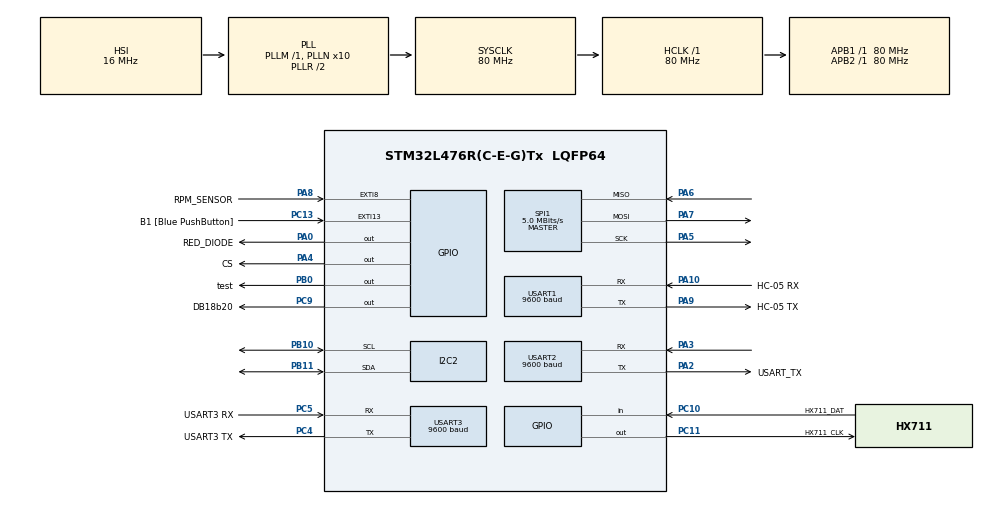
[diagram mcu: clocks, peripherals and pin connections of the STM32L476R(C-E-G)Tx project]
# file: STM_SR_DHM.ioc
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FATFS._MAX_SS=4096
FATFS._USE_LFN=1
I2C2.Timing=0x10909CEC
Mcu.Family=STM32L4
Mcu.Name=STM32L476R(C-E-G)Tx
Mcu.Package=LQFP64
NVIC.EXTI15_10_IRQn=true\:0\:0\:false\:false\:true\:true\:true
NVIC.EXTI9_5_IRQn=true\:0\:0\:false\:false\:true\:true\:true
NVIC.PriorityGroup=NVIC_PRIORITYGROUP_4
NVIC.USART1_IRQn=true\:0\:0\:false\:false\:true\:true\:true
NVIC.USART2_IRQn=true\:0\:0\:false\:false\:true\:true\:true
PA0.GPIO_Label=RED_DIODE
PA0.GPIO_ModeDefaultOutputPP=GPIO_MODE_OUTPUT_PP
PA0.GPIO_PuPd=GPIO_PULLDOWN
PA0.Signal=GPIO_Output
PA10.GPIO_Label=HC-05 RX
PA10.Mode=Asynchronous
PA10.Signal=USART1_RX
PA13\ (JTMS-SWDIO).GPIO_Label=TMS
PA13\ (JTMS-SWDIO).Mode=Trace_Asynchronous_SW
PA13\ (JTMS-SWDIO).Signal=SYS_JTMS-SWDIO
PA14\ (JTCK-SWCLK).GPIO_Label=TCK
PA14\ (JTCK-SWCLK).Mode=Trace_Asynchronous_SW
PA14\ (JTCK-SWCLK).Signal=SYS_JTCK-SWCLK
PA2.GPIO_Label=USART_TX
PA2.GPIO_Mode=GPIO_MODE_AF_PP
PA2.GPIO_PuPd=GPIO_NOPULL
PA2.GPIO_Speed=GPIO_SPEED_FREQ_VERY_HIGH
PA2.Mode=Asynchronous
PA2.Signal=USART2_TX
PA3.Mode=Asynchronous
PA3.Signal=USART2_RX
PA4.GPIO_Label=CS
PA4.Signal=GPIO_Output
PA5.Mode=Full_Duplex_Master
PA5.Signal=SPI1_SCK
PA6.Mode=Full_Duplex_Master
PA6.Signal=SPI1_MISO
PA7.Mode=Full_Duplex_Master
PA7.Signal=SPI1_MOSI
PA8.GPIO_Label=RPM_SENSOR
PA8.GPIO_ModeDefaultEXTI=GPIO_MODE_IT_FALLING
PA8.Signal=GPXTI8
PA9.GPIO_Label=HC-05 TX
PA9.Mode=Asynchronous
PA9.Signal=USART1_TX
PB0.GPIO_Label=test
PB0.Signal=GPIO_Output
PB10.Mode=I2C
PB10.Signal=I2C2_SCL
PB11.Mode=I2C
PB11.Signal=I2C2_SDA
PB3\ (JTDO-TRACESWO).GPIO_Label=SWO
PB3\ (JTDO-TRACESWO).Mode=Trace_Asynchronous_SW
PB3\ (JTDO-TRACESWO).Signal=SYS_JTDO-SWO
PC10.GPIO_Label=HX711_DAT
PC10.Signal=GPIO_Input
PC11.GPIO_Label=HX711_CLK
PC11.Signal=GPIO_Output
PC13.GPIO_Label=B1 [Blue PushButton]
PC13.GPIO_ModeDefaultEXTI=GPIO_MODE_IT_FALLING
PC13.GPIO_PuPd=GPIO_NOPULL
PC13.Signal=GPXTI13
PC14-OSC32_IN\ (PC14).Mode=LSE-External-Oscillator
PC14-OSC32_IN\ (PC14).Signal=RCC_OSC32_IN
PC15-OSC32_OUT\ (PC15).Mode=LSE-External-Oscillator
PC15-OSC32_OUT\ (PC15).Signal=RCC_OSC32_OUT
PC4.GPIO_Label=USART3 TX
PC4.Mode=Asynchronous
PC4.Signal=USART3_TX
PC5.GPIO_Label=USART3 RX
PC5.Mode=Asynchronous
PC5.Signal=USART3_RX
PC9.GPIO_Label=DB18b20
PC9.Signal=GPIO_Output
PH0-OSC_IN\ (PH0).Signal=RCC_OSC_IN
PH1-OSC_OUT\ (PH1).Signal=RCC_OSC_OUT
ProjectManager.HeapSize=0x200
ProjectManager.StackSize=0x400
ProjectManager.TargetToolchain=STM32CubeIDE
RCC.ADCFreq_Value=64000000
RCC.AHBFreq_Value=80000000
RCC.APB1Freq_Value=80000000
RCC.APB1TimFreq_Value=80000000
RCC.APB2Freq_Value=80000000
RCC.APB2TimFreq_Value=80000000
RCC.CortexFreq_Value=80000000
RCC.HCLKFreq_Value=80000000
RCC.HSE_VALUE=8000000
RCC.HSI_VALUE=16000000
RCC.MSI_VALUE=4000000
RCC.PLLN=10
RCC.PLLSourceVirtual=RCC_PLLSOURCE_HSI
RCC.PREFETCH_ENABLE=1
RCC.SYSCLKFreq_VALUE=80000000
RCC.SYSCLKSource=RCC_SYSCLKSOURCE_PLLCLK
RCC.USBFreq_Value=64000000
RCC.VCOOutputFreq_Value=160000000
RTC.Date=4
RTC.Format=RTC_FORMAT_BIN
RTC.Hours=19
RTC.Minutes=13
RTC.Month=RTC_MONTH_JUNE
RTC.Seconds=13
RTC.WeekDay=RTC_WEEKDAY_SUNDAY
RTC.Year=23
SPI1.BaudRatePrescaler=SPI_BAUDRATEPRESCALER_16
SPI1.CalculateBaudRate=5.0 MBits/s
SPI1.Direction=SPI_DIRECTION_2LINES
SPI1.Mode=SPI_MODE_MASTER
SPI1.VirtualType=VM_MASTER
TIM1.Period=65000
TIM1.Prescaler=79
TIM16.Period=65535
TIM16.Prescaler=7999
USART1.BaudRate=9600
USART1.VirtualMode-Asynchronous=VM_ASYNC
USART2.BaudRate=9600
USART2.VirtualMode-Asynchronous=VM_ASYNC
USART3.BaudRate=9600
USART3.VirtualMode-Asynchronous=VM_ASYNC
VP_FATFS_VS_Generic.Mode=User_defined
VP_RTC_VS_RTC_Activate.Mode=RTC_Enabled
VP_RTC_VS_RTC_Calendar.Mode=RTC_Calendar
VP_TIM16_VS_ClockSourceINT.Mode=Enable_Timer
VP_TIM1_VS_ClockSourceINT.Mode=Internal
VP_TIM6_VS_ClockSourceINT.Mode=Enable_Timer
board=NUCLEO-L476RG

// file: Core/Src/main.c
/* USER CODE BEGIN Header */
/**
  ******************************************************************************
  * @file           : main.c
  * @brief          : Main program body
  ******************************************************************************
  * @attention
  *
  * <h2><center>&copy; Copyright (c) 2023 STMicroelectronics.
  * All rights reserved.</center></h2>
  *
  * This software component is licensed by ST under BSD 3-Clause license,
  * the "License"; You may not use this file except in compliance with the
  * License. You may obtain a copy of the License at:
  *                        opensource.org/licenses/BSD-3-Clause
  *
  ******************************************************************************
  */
/* USER CODE END Header */
#include "main.h"
#include "fatfs.h"
#include "i2c.h"
#include "rtc.h"
#include "spi.h"
#include "tim.h"
#include "usart.h"
#include "gpio.h"

/* USER CODE BEGIN Includes */
#include "stdio.h"
#include "hx711.h"
#include "ds18b20.h"
#include "i2c-lcd.h"
#include "fatfs_sd.h"
#include "string.h"
/* USER CODE END Includes */

/* USER CODE BEGIN PD */
#define BUFFER_LEN  1
/* USER CODE END PD */

/* USER CODE BEGIN PV */
volatile uint32_t lastCapture = 0;
volatile uint32_t capturedBuffer[2] = {0};
volatile uint8_t bufferIndex = 0;
volatile uint32_t compensation = 0;
UART_HandleTypeDef huart1;
UART_HandleTypeDef huart3;
UART_HandleTypeDef huart2;
uint8_t RX_BUFFER[BUFFER_LEN] = {0};
enum LCD_state {RPM_TEM, WGHT_RPM, TEM_WGHT};
enum LCD_state current_lcd_state = RPM_TEM;
//tests
FATFS fs;  // file system
FIL fil; // File
FILINFO fno;
FRESULT fresult;  // result
UINT br, bw;  // File read/write count

/**** capacity related *****/
FATFS *pfs;
DWORD fre_clust;
uint32_t total, free_space;

#define BUFFER_SIZE 128
char buffer[BUFFER_SIZE];  // to store strings..

/* USER CODE END PV */

void SystemClock_Config(void);
/* USER CODE BEGIN PFP */
uint32_t measure_RPM(); // if data from sensor is available return RPM value
/* USER CODE END PFP */

/* USER CODE BEGIN 0 */
int bufsize (char *buf)
{
	int i=0;
	while (*buf++ != '\0') i++;
	return i;
}

void clear_buffer (void)
{
	for (int i=0; i<BUFFER_SIZE; i++) buffer[i] = '\0';
}

int _write(int file, char *ptr, int len)
{
	for(int i = 0; i < len; i++)
	{
		ITM_SendChar(*ptr++);
	}
	return len;
}

void HAL_GPIO_EXTI_Callback(uint16_t GPIO_Pin)
{
  if (GPIO_Pin == RPM_SENSOR_Pin)
  {
	  uint32_t now = TIM16->CNT; // Get current timer count + compensation
	  uint32_t tmp_compensation = compensation;
	  compensation = 0; // zero compensation value
	  uint32_t delta = now + tmp_compensation - lastCapture; // Calculate time difference
	  lastCapture = now;
	  capturedBuffer[bufferIndex] = delta; // Store time difference in buffer
	  bufferIndex = (bufferIndex + 1) % 2; // Wrap buffer index
  }
  if(GPIO_Pin == B1_Pin){
	  current_lcd_state++;
	  if(current_lcd_state > TEM_WGHT)
		  current_lcd_state = RPM_TEM;
  }
}

void HAL_TIM_PeriodElapsedCallback(TIM_HandleTypeDef *htim)
{
	if (htim == &htim16)
	{
		compensation += 0xFFFF; // compensate for timer overflow
	}
}
void HAL_UART_RxCpltCallback(UART_HandleTypeDef *huart)
{
    if(huart->Instance == huart1.Instance)
    {
    HAL_UART_Receive_IT(&huart1, RX_BUFFER, BUFFER_LEN);
    }
}

uint8_t calculateCRC8(float value1, float value2, int value3, int value4) {
  uint8_t crc = 0;

  // Obliczenie sumy kontrolnej dla value1
  uint32_t valueAsUint1;
  memcpy(&valueAsUint1, &value1, sizeof(value1));
  uint8_t* bytes1 = (uint8_t*)&valueAsUint1;
  for (uint8_t i = 0; i < sizeof(float); i++) {
    crc ^= bytes1[i];
    for (uint8_t j = 0; j < 8; j++) {
        if (crc & 0x80) {
            crc = (crc << 1) ^ 0x07;
        } else {
            crc <<= 1;
        }
    }
  }

  // Obliczenie sumy kontrolnej dla value2
  uint32_t valueAsUint2;
  memcpy(&valueAsUint2, &value2, sizeof(value2));
  uint8_t* bytes2 = (uint8_t*)&valueAsUint2;
  for (uint8_t i = 0; i < sizeof(float); i++) {
    crc ^= bytes2[i];
    for (uint8_t j = 0; j < 8; j++) {
        if (crc & 0x80) {
            crc = (crc << 1) ^ 0x07;
        } else {
            crc <<= 1;
        }
    }
  }

  // Obliczenie sumy kontrolnej dla value3
  uint8_t value3AsUint8 = (uint8_t)value3;
  crc ^= value3AsUint8;
  for (uint8_t i = 0; i < 8; i++) {
    if (crc & 0x80) {
        crc = (crc << 1) ^ 0x07;
    } else {
        crc <<= 1;
    }
  }

  // Obliczenie sumy kontrolnej dla value4
  uint8_t value4AsUint8 = (uint8_t)value4;
  crc ^= value4AsUint8;
  for (uint8_t i = 0; i < 8; i++) {
    if (crc & 0x80) {
        crc = (crc << 1) ^ 0x07;
    } else {
        crc <<= 1;
    }
  }

  return crc;
}
/* USER CODE END 0 */

int main(void)
{

  /* MCU Configuration--------------------------------------------------------*/

  /* Reset of all peripherals, Initializes the Flash interface and the Systick. */
  HAL_Init();

  /* Configure the system clock */
  SystemClock_Config();

  /* Initialize all configured peripherals */
  MX_GPIO_Init();
  MX_USART2_UART_Init();
  MX_SPI1_Init();
  MX_USART3_UART_Init();
  MX_FATFS_Init();
  MX_RTC_Init();
  MX_TIM6_Init();
  MX_TIM16_Init();
  MX_TIM1_Init();
  MX_USART1_UART_Init();
  MX_I2C2_Init();
  /* USER CODE BEGIN 2 */
  lcd_init();
  //TEST STARTs
  	HAL_Delay (500);
	fresult = f_mount(&fs, "/", 1);
	if (fresult != FR_OK){
		printf("ERROR!!! in mounting SD CARD...\n\n");
		printf("%d\n", fresult);
	}
	else printf("SD CARD mounted successfully...\n\n");

	/*************** Card capacity details ********************/

	/* Check free space */
	f_getfree("", &fre_clust, &pfs);

	total = (uint32_t)((pfs->n_fatent - 2) * pfs->csize * 0.5);
	sprintf (buffer, "SD CARD Total Size: \t%lu\n",total);
	printf(buffer);
	clear_buffer();
	free_space = (uint32_t)(fre_clust * pfs->csize * 0.5);
	sprintf (buffer, "SD CARD Free Space: \t%lu\n\n",free_space);
	printf(buffer);
	clear_buffer();

  //TEST ENDS

	// loadcell init and calibration procedure
	  hx711_t loadcell = {0};
	  hx711_init(&loadcell, HX711_CLK_GPIO_Port, HX711_CLK_Pin, HX711_DAT_GPIO_Port, HX711_DAT_Pin);
	  int8_t stop = 1;
	  int32_t noload_raw, load_raw;
	  float scale = 1000; // wartosc wzorca w gramach

	  lcd_clear();
	  lcd_put_cur(0, 0);
	  lcd_send_string("Tarowanie wagi");
	  lcd_put_cur(1, 0);
	  lcd_send_string("Przytrzymaj B1");
	  while(stop){
		  GPIO_PinState stop_check;
		  for(int i = 0; i < 10; i++){
			  stop_check = HAL_GPIO_ReadPin(B1_GPIO_Port, B1_Pin);
			  if(stop_check == GPIO_PIN_RESET) stop = 0;
			  else stop = 1;
			  HAL_Delay(2);
		  }
	  }
	  lcd_clear();
	  while(HAL_GPIO_ReadPin(B1_GPIO_Port, B1_Pin) == GPIO_PIN_RESET);
	  noload_raw = hx711_value_ave(&loadcell, 10);
	  stop = 1;
	  lcd_put_cur(0, 0);
	  lcd_send_string("Ustaw wzorzec");
	  lcd_put_cur(1, 0);
	  lcd_send_string("Przytrzymaj B1");
	  while(stop){
	  	  GPIO_PinState stop_check;
	  	  for(int i = 0; i < 10; i++){
	  		  stop_check = HAL_GPIO_ReadPin(B1_GPIO_Port, B1_Pin);
	  		  if(stop_check == GPIO_PIN_RESET) stop = 0;
	  		  else stop = 1;
	  		  HAL_Delay(2);
	  	  }
	  }
	  load_raw = hx711_value_ave(&loadcell, 10);

	  // waga bedzie zwracana w gramach
	  hx711_calibration(&loadcell, noload_raw, load_raw, scale);

  HAL_TIM_Base_Start_IT(&htim16);

  int calculatedCrc =0; //Suma Kontrolna

  //Temperatura
    float temperature;
    char uart_buf[32];
    DS18B20_Init(DS18B20_Resolution_12bits);

    uint8_t ROM_tmp[8];
    uint8_t i;

  //Bluetooth
  HAL_UART_Receive_IT(&huart1, RX_BUFFER, BUFFER_LEN);
  char data[20]; // Array to store the formatted string
  uint8_t txData[20]; // Array to hold the bytes to be transmitted

  //RTC
  	  	char time[30];
    	int meslen=0;
    	RTC_TimeTypeDef RtcTime;
    	RTC_TimeTypeDef RtcDate;

  /* USER CODE END 2 */

  /* Infinite loop */
  /* USER CODE BEGIN WHILE */
  while (1)
  {
	  DS18B20_ReadAll();
	  DS18B20_StartAll();

	  char rpm_msq[16], temp_msg[16], weight_msg[16];

	  int rpm = measure_RPM();
	  if(current_lcd_state == RPM_TEM || current_lcd_state == WGHT_RPM)
		  sprintf(rpm_msq, "RPM:%d", rpm);

	  float weight = hx711_weight(&loadcell, 1);
	  if(current_lcd_state == WGHT_RPM || current_lcd_state == TEM_WGHT)
		  sprintf(weight_msg, "Weight:%f", weight);

	  for(i = 0; i < DS18B20_Quantity(); i++)
	    	{
	    		if(DS18B20_GetTemperature(i, &temperature))
	    		{
	    			DS18B20_GetROM(i, ROM_tmp);

	    		}
	    	}
	  if(current_lcd_state == RPM_TEM || current_lcd_state == TEM_WGHT)
		  sprintf(temp_msg, "Temp:%.4g", temperature);

	  lcd_clear();
	  lcd_put_cur(0, 0);
	  switch(current_lcd_state){
	  case RPM_TEM:
		  lcd_send_string(rpm_msq);
		  lcd_put_cur(1, 0);
		  lcd_send_string(temp_msg);
		  break;
	  case WGHT_RPM:
		  lcd_send_string(weight_msg);
		  lcd_put_cur(1, 0);
		  lcd_send_string(rpm_msq);
		  break;
	  case TEM_WGHT:
		  lcd_send_string(temp_msg);
		  lcd_put_cur(1, 0);
		  lcd_send_string(weight_msg);
		  break;
	  }
	  HAL_Delay(500);

	  //pobieranie czasu
	  HAL_RTC_GetTime(&hrtc, &RtcTime, RTC_FORMAT_BIN);
	  HAL_RTC_GetDate(&hrtc, &RtcDate, RTC_FORMAT_BIN);
	  meslen=sprintf((char*)time, "Time: %02d:%02d:%02d\n\r", RtcTime.Hours, RtcTime.Minutes, RtcTime.Seconds);

	 // Wysyłanie do bluetooth
		sprintf(data, "%.4g,%.2g,%d,%d:%d:%d;", temperature, weight/100, rpm, RtcTime.Hours,RtcTime.Minutes,RtcTime.Seconds);
		memcpy(txData, data, strlen(data));
		HAL_UART_Transmit(&huart1, txData, strlen(data), HAL_MAX_DELAY);

		//Liczenie sumy kontrolnej
		int calculatedCrc = calculateCRC8(temperature,temperature+2,rpm,weight);
	 // Wysyłanie po Uart
		sprintf(uart_buf, "@%.4g %.4g %d %.4g %d$\n", temperature,temperature+2,rpm,weight,calculatedCrc);
		HAL_UART_Transmit(&huart2, (uint8_t*)uart_buf, strlen(uart_buf), 100);

	// zapisywanie danych na karte SD
			fresult = f_open(&fil, "DATALOG.TXT", FA_OPEN_ALWAYS | FA_READ | FA_WRITE);

			/* Zapisywanie */
			sprintf(data, "%d:%d:%d-%.4g,%.2g,%d",RtcTime.Hours,RtcTime.Minutes,RtcTime.Seconds, temperature, weight, rpm);
			f_puts(data, &fil);

			/* zamykanie pliku */
			fresult = f_close(&fil);

			if (fresult == FR_OK)printf ("DATALOG.TXT created and the data is written \n");

			clear_buffer();

    /* USER CODE END WHILE */

  }
}

void SystemClock_Config(void)
{
  RCC_OscInitTypeDef RCC_OscInitStruct = {0};
  RCC_ClkInitTypeDef RCC_ClkInitStruct = {0};
  RCC_PeriphCLKInitTypeDef PeriphClkInit = {0};

  /** Initializes the RCC Oscillators according to the specified parameters
  * in the RCC_OscInitTypeDef structure.
  */
  RCC_OscInitStruct.OscillatorType = RCC_OSCILLATORTYPE_HSI|RCC_OSCILLATORTYPE_LSI;
  RCC_OscInitStruct.HSIState = RCC_HSI_ON;
  RCC_OscInitStruct.HSICalibrationValue = RCC_HSICALIBRATION_DEFAULT;
  RCC_OscInitStruct.LSIState = RCC_LSI_ON;
  RCC_OscInitStruct.PLL.PLLState = RCC_PLL_ON;
  RCC_OscInitStruct.PLL.PLLSource = RCC_PLLSOURCE_HSI;
  RCC_OscInitStruct.PLL.PLLM = 1;
  RCC_OscInitStruct.PLL.PLLN = 10;
  RCC_OscInitStruct.PLL.PLLP = RCC_PLLP_DIV7;
  RCC_OscInitStruct.PLL.PLLQ = RCC_PLLQ_DIV2;
  RCC_OscInitStruct.PLL.PLLR = RCC_PLLR_DIV2;
  if (HAL_RCC_OscConfig(&RCC_OscInitStruct) != HAL_OK)
  {
    Error_Handler();
  }
  /** Initializes the CPU, AHB and APB buses clocks
  */
  RCC_ClkInitStruct.ClockType = RCC_CLOCKTYPE_HCLK|RCC_CLOCKTYPE_SYSCLK
                              |RCC_CLOCKTYPE_PCLK1|RCC_CLOCKTYPE_PCLK2;
  RCC_ClkInitStruct.SYSCLKSource = RCC_SYSCLKSOURCE_PLLCLK;
  RCC_ClkInitStruct.AHBCLKDivider = RCC_SYSCLK_DIV1;
  RCC_ClkInitStruct.APB1CLKDivider = RCC_HCLK_DIV1;
  RCC_ClkInitStruct.APB2CLKDivider = RCC_HCLK_DIV1;

  if (HAL_RCC_ClockConfig(&RCC_ClkInitStruct, FLASH_LATENCY_4) != HAL_OK)
  {
    Error_Handler();
  }
  PeriphClkInit.PeriphClockSelection = RCC_PERIPHCLK_RTC|RCC_PERIPHCLK_USART1
                              |RCC_PERIPHCLK_USART2|RCC_PERIPHCLK_USART3
                              |RCC_PERIPHCLK_I2C2;
  PeriphClkInit.Usart1ClockSelection = RCC_USART1CLKSOURCE_PCLK2;
  PeriphClkInit.Usart2ClockSelection = RCC_USART2CLKSOURCE_PCLK1;
  PeriphClkInit.Usart3ClockSelection = RCC_USART3CLKSOURCE_PCLK1;
  PeriphClkInit.I2c2ClockSelection = RCC_I2C2CLKSOURCE_PCLK1;
  PeriphClkInit.RTCClockSelection = RCC_RTCCLKSOURCE_LSI;
  if (HAL_RCCEx_PeriphCLKConfig(&PeriphClkInit) != HAL_OK)
  {
    Error_Handler();
  }
  /** Configure the main internal regulator output voltage
  */
  if (HAL_PWREx_ControlVoltageScaling(PWR_REGULATOR_VOLTAGE_SCALE1) != HAL_OK)
  {
    Error_Handler();
  }
}

/* USER CODE BEGIN 4 */
uint32_t measure_RPM(){
	uint32_t delta1 = capturedBuffer[0];
	uint32_t delta2 = capturedBuffer[1];
	if (delta1 > 0 && delta2 > 0) {
		uint32_t delta = delta1 + delta2;
		float frequency = 1.0f / (delta / 2.0f / 10000.0f ); // Calculate frequency in Hz
		uint32_t rpm = frequency * 60.0f; // Calculate RPM
		capturedBuffer[0] = 0;
		capturedBuffer[1] = 0;
		return rpm;
	}
	else return 0;
}
/* USER CODE END 4 */

void Error_Handler(void)
{
}

/************************ (C) COPYRIGHT STMicroelectronics *****END OF FILE****/
